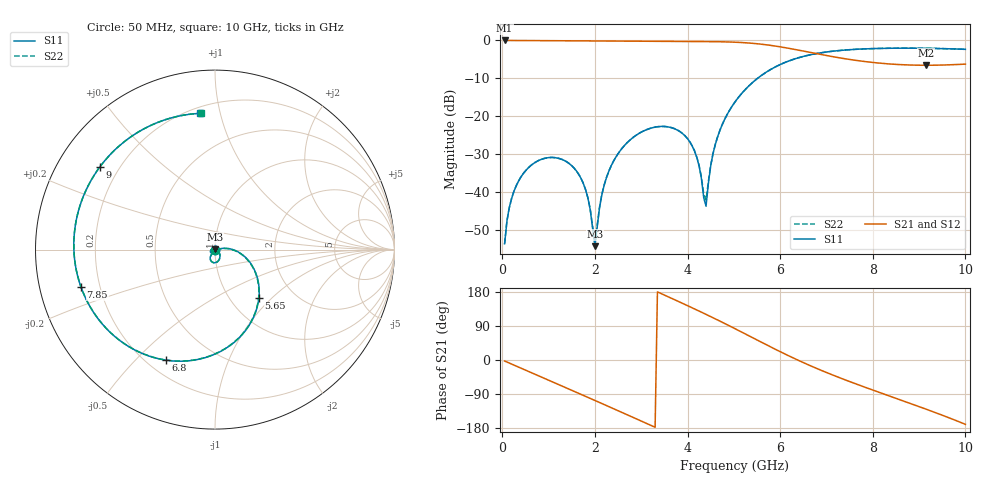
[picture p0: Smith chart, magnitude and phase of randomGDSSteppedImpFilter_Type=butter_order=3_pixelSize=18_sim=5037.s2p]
! freq	dB(S11)	phase(S11)	dB(S12)	phase(S12)
!  dB(S21)	phase(S21)	dB(S22)	phase(S22)
!S-par simulation data
#  GHz  S  DB  R 50
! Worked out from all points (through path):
!   200 points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, 50 MHz to 10 GHz, reference 50 ohm
!   highest |S21| = 0.00 dB at 50 MHz (marker M1); lowest = -6.5 dB at 9.15 GHz (marker M2)
!   group delay of S21, straight-line fit = 151 ps
!   lowest |S11| = -54.3 dB at 2 GHz (marker M3), VSWR 1.00, Z = 50.1 + j0.184 ohm
!   |S11| at or under -10 dB: start of sweep to 5.511 GHz
!   |S22| runs from -53.6 to -2.0 dB; largest |S21 - S12| = 0
!   S11 on the Smith chart (normalised r, x): 50 MHz: 1.00, -0.00; 5.65 GHz: 1.35, -0.84; 6.8 GHz: 0.27, -0.62; 7.85 GHz: 0.13, -0.13; 9 GHz: 0.13, +0.32; 10 GHz: 0.24, +0.87
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0.05  -53.65 -90.7  -0.00 -2.7  -0.00 -2.7  -53.65 -90.7
0.25  -39.85 -103.4  -0.01 -13.4  -0.01 -13.4  -39.85 -103.4
0.65  -32.67 -125.7  -0.03 -34.7  -0.03 -34.7  -32.67 -125.8
1.3  -31.44 -162.2  -0.08 -69.3  -0.08 -69.3  -31.44 -162.4
1.75  -37.73 168.9  -0.10 -93.3  -0.10 -93.3  -37.72 168.0
1.9  -44.73 150.3  -0.11 -101.4  -0.11 -101.4  -44.61 147.9
2  -54.27 72.0  -0.12 -106.8  -0.12 -106.8  -53.11 72.1
2.15  -40.69 -13.1  -0.13 -114.8  -0.13 -114.8  -40.61 -11.1
2.4  -31.89 -34.1  -0.15 -128.4  -0.15 -128.4  -31.88 -33.2
3.4  -22.71 -90.8  -0.25 177.0  -0.25 177.0  -22.70 -90.2
4.1  -27.83 -125.3  -0.28 137.7  -0.28 137.7  -27.79 -123.6
4.4  -43.74 -37.7  -0.30 120.4  -0.30 120.4  -42.12 -41.7
4.6  -27.43 9.4  -0.32 108.6  -0.32 108.6  -27.38 7.3
5.05  -15.80 -11.8  -0.47 81.1  -0.47 81.1  -15.80 -12.5
5.65  -8.77 -47.9  -1.07 43.5  -1.07 43.5  -8.76 -48.2
6.7  -3.66 -108.7  -3.27 -17.6  -3.27 -17.6  -3.66 -108.9
6.8  -3.42 -114.0  -3.51 -22.9  -3.51 -22.9  -3.42 -114.2
7.85  -2.21 -164.5  -5.60 -72.7  -5.60 -72.7  -2.21 -164.6
8.35  -2.06 173.3  -6.19 -94.6  -6.19 -94.6  -2.06 173.1
9  -2.05 144.1  -6.53 -123.0  -6.53 -123.0  -2.05 143.9
9.15  -2.07 137.2  -6.55 -129.7  -6.55 -129.7  -2.07 137.0
10  -2.34 96.2  -6.24 -169.8  -6.24 -169.8  -2.34 95.9
